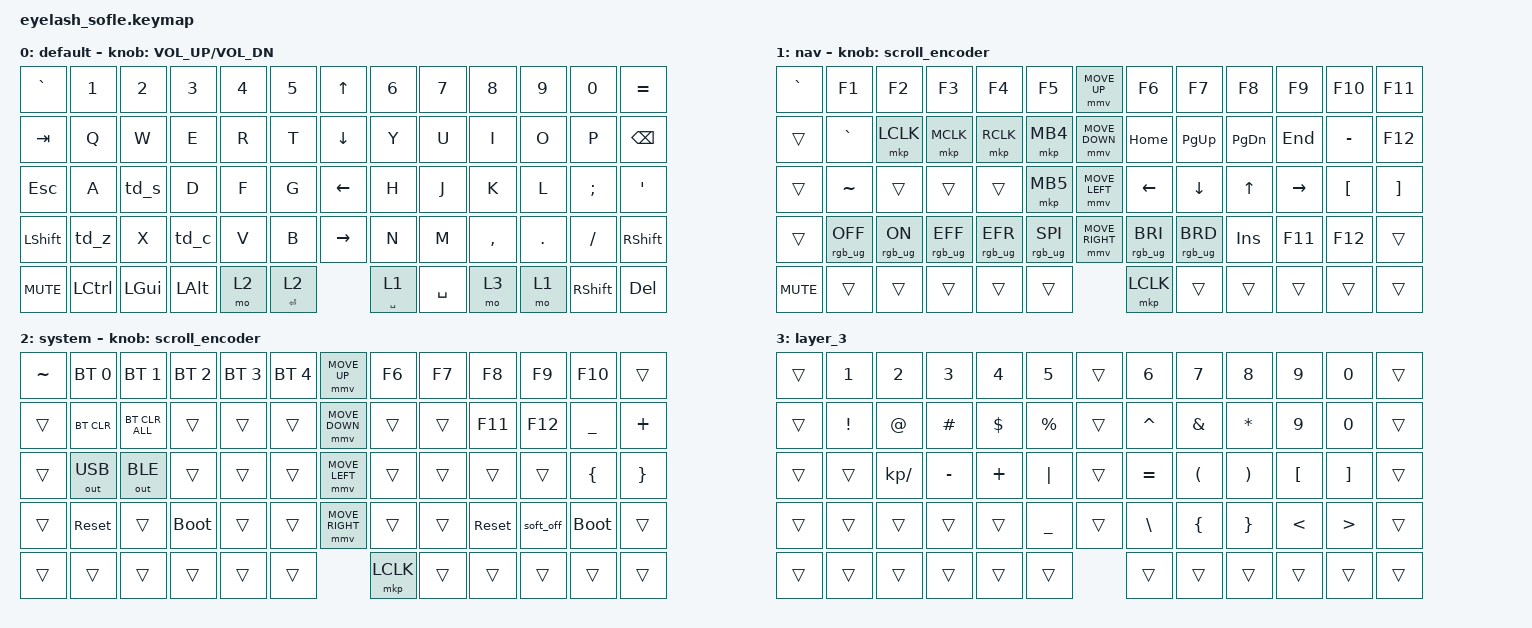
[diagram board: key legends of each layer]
#define ZMK_POINTING_DEFAULT_MOVE_VAL 1200  // 600
#define ZMK_POINTING_DEFAULT_SCRL_VAL 25   // 10

#include <input/processors.dtsi>
#include <zephyr/dt-bindings/input/input-event-codes.h>
#include <behaviors.dtsi>
#include <dt-bindings/zmk/bt.h>
#include <dt-bindings/zmk/keys.h>
#include <dt-bindings/zmk/outputs.h>
#include <dt-bindings/zmk/outputs.h>
#include <dt-bindings/zmk/pointing.h>
#include <dt-bindings/zmk/rgb.h>

&mmv_input_listener { input-processors = <&zip_xy_scaler 2 1>; };

&msc_input_listener { input-processors = <&zip_scroll_scaler 2 1>; };

&msc {
    acceleration-exponent = <1>;      // 0
    time-to-max-speed-ms = <100>;       // 300
    delay-ms = <0>;                   // 0
};

&mmv {
    time-to-max-speed-ms = <500>;
    acceleration-exponent = <1>;
    trigger-period-ms = <16>;
};

&soft_off { hold-time-ms = <2000>; };

/ {
    scroll_encoder: scroll_encoder {
        compatible = "zmk,behavior-sensor-rotate";
        #sensor-binding-cells = <0>;
        bindings = <&msc SCRL_DOWN>, <&msc SCRL_UP>;


        tap-ms = <100>;
    };

    behaviors {
    };

    combos {
        compatible = "zmk,combos";

        softoff {
            bindings = <&soft_off>;
            key-positions = <14 28 40>;
        };
    };

    behaviors {
        tap_h: tap_h {
            compatible = "zmk,behavior-hold-tap";
            label = "TAP_H";
            #binding-cells = <2>;
            tapping-term-ms = <200>;
            bindings = <&kp>, <&mo>;
        };

        td_z: tap_dance_z {
            compatible = "zmk,behavior-tap-dance";
            label = "TD_Z";
            #binding-cells = <0>;
            tapping-term-ms = <200>;
            bindings = <&kp Z>, <&kp BSLH>;
        };

        td_s: tap_dance_s {
            compatible = "zmk,behavior-tap-dance";
            label = "TD_S";
            #binding-cells = <0>;
            tapping-term-ms = <200>;
            bindings = <&kp S>, <&kp LBRC>;
        };

        td_c: tap_dance_c {
            compatible = "zmk,behavior-tap-dance";
            label = "TD_C";
            #binding-cells = <0>;
            tapping-term-ms = <200>;
            bindings = <&kp C>, <&kp SEMI>;
        };
    };

    keymap {
        compatible = "zmk,keymap";

        layer0 {
            bindings = <
&kp GRAVE   &kp N1     &kp N2        &kp N3        &kp N4  &kp N5            &kp UP_ARROW     &kp N6     &kp N7  &kp N8     &kp N9           &kp N0      &kp EQUAL
&kp TAB     &kp Q      &kp W         &kp E         &kp R   &kp T             &kp DOWN_ARROW   &kp Y      &kp U   &kp I      &kp O            &kp P       &kp BACKSPACE
&kp ESC     &kp A      &td_s         &kp D         &kp F   &kp G             &kp LEFT_ARROW   &kp H      &kp J   &kp K      &kp L            &kp SEMI    &kp APOS
&kp LSHFT   &td_z      &kp X         &td_c         &kp V   &kp B             &kp RIGHT_ARROW  &kp N      &kp M   &kp COMMA  &kp DOT          &kp FSLH    &kp RSHFT
&kp C_MUTE  &kp LCTRL  &kp LEFT_GUI  &kp LEFT_ALT  &mo 2   &tap_h ENTER 2    &tap_h SPACE 1        &kp SPACE  &mo 3   &mo 1      &kp RIGHT_SHIFT  &kp DELETE
            >;

            sensor-bindings = <&inc_dec_kp C_VOLUME_UP C_VOL_DN>;
            display-name = "default";
        };

        layer_1 {
            bindings = <
&kp GRAVE   &kp F1           &kp F2          &kp F3           &kp F4           &kp F5             &mmv MOVE_UP     &kp F6           &kp F7           &kp F8      &kp F9     &kp F10           &kp F11
&trans      &kp GRAVE        &mkp LCLK       &mkp MCLK        &mkp RCLK        &mkp MB4           &mmv MOVE_DOWN   &kp HOME         &kp PG_UP        &kp PG_DN   &kp END    &kp MINUS         &kp F12
&trans      &kp TILDE        &trans          &trans           &trans           &mkp MB5           &mmv MOVE_LEFT   &kp LEFT         &kp DOWN         &kp UP      &kp RIGHT  &kp LEFT_BRACKET  &kp RIGHT_BRACKET
&trans      &rgb_ug RGB_OFF  &rgb_ug RGB_ON  &rgb_ug RGB_EFF  &rgb_ug RGB_EFR  &rgb_ug RGB_SPI    &mmv MOVE_RIGHT  &rgb_ug RGB_BRI  &rgb_ug RGB_BRD  &kp INSERT  &kp F11    &kp F12           &trans
&kp C_MUTE  &trans           &trans          &trans           &trans           &trans             &mkp LCLK        &trans           &trans           &trans      &trans     &trans
            >;

            display-name = "nav";
            sensor-bindings = <&scroll_encoder>;
        };

        layer_2 {
            bindings = <
&kp TILDE  &bt BT_SEL 0  &bt BT_SEL 1    &bt BT_SEL 2  &bt BT_SEL 3  &bt BT_SEL 4    &mmv MOVE_UP     &kp F6  &kp F7  &kp F8      &kp F9     &kp F10      &trans
&trans     &bt BT_CLR    &bt BT_CLR_ALL  &trans        &trans        &trans          &mmv MOVE_DOWN   &trans  &trans  &kp F11     &kp F12    &kp UNDER    &kp PLUS
&trans     &out OUT_USB  &out OUT_BLE    &trans        &trans        &trans          &mmv MOVE_LEFT   &trans  &trans  &trans      &trans     &kp LBRC     &kp RBRC
&trans     &sys_reset    &trans          &bootloader   &trans        &trans          &mmv MOVE_RIGHT  &trans  &trans  &sys_reset  &soft_off  &bootloader  &trans
&trans     &trans        &trans          &trans        &trans        &trans          &mkp LCLK        &trans  &trans  &trans      &trans     &trans
            >;

            display-name = "system";
            sensor-bindings = <&scroll_encoder>;
        };

        layer_3 {
            bindings = <
&trans  &kp N1    &kp N2         &kp N3     &kp N4      &kp N5         &trans  &kp N6     &kp N7                &kp N8                 &kp N9            &kp N0             &trans
&trans  &kp EXCL  &kp AT         &kp HASH   &kp DOLLAR  &kp PERCENT    &trans  &kp CARET  &kp AMPS              &kp ASTRK              &kp N9            &kp N0             &trans
&trans  &trans    &kp KP_DIVIDE  &kp MINUS  &kp PLUS    &kp PIPE       &trans  &kp EQUAL  &kp LEFT_PARENTHESIS  &kp RIGHT_PARENTHESIS  &kp LEFT_BRACKET  &kp RIGHT_BRACKET  &trans
&trans  &trans    &trans         &trans     &trans      &kp UNDER      &trans  &kp BSLH   &kp LEFT_BRACE        &kp RIGHT_BRACE        &kp LESS_THAN     &kp GREATER_THAN   &trans
&trans  &trans    &trans         &trans     &trans      &trans         &trans  &trans     &trans                &trans                 &trans            &trans
            >;
        };
    };
};
